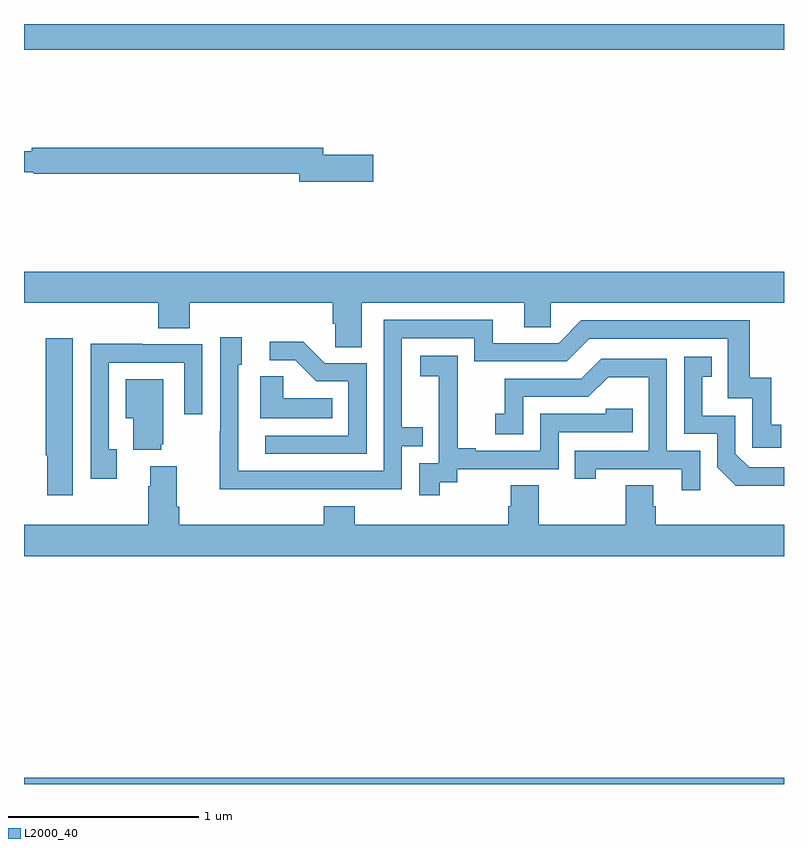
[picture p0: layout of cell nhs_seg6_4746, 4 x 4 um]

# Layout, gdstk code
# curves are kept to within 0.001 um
import gdstk
lib = gdstk.Library(unit=1e-6, precision=1e-09)
def R(c, l, rs):  # rectangles x0, y0, x1, y1
    for r in rs: c.add(gdstk.rectangle(r[:2], r[2:], *l))
def P(c, l, *ps):  # polygons
    for p in ps: c.add(gdstk.Polygon(p, *l))
L2000_40 = (2000, 40)

nhs_seg6_4746 = lib.new_cell('nhs_seg6_4746')
R(nhs_seg6_4746, L2000_40, [(393,915.5,397,915.532), (393,919.364,397,919.5)])
P(nhs_seg6_4746, L2000_40, [(394.837,918.812),(394.576,918.812),(394.576,918.848),(393.04,918.848),(393.04,918.829),(393,918.829),(393,918.72),(393.052,918.72),(393.052,918.712),(394.448,918.712),(394.448,918.67),(394.837,918.67)],
  [(394.777,918.032),(395.633,918.032),(395.633,917.905),(395.772,917.905),(395.772,918.032),(397,918.032),(397,918.196),(393,918.196),(393,918.032),(393.707,918.032),(393.707,917.899),(393.872,917.899),(393.872,918.032),(394.625,918.032),(394.625,917.923),(394.638,917.923),(394.638,917.8),(394.777,917.8)],
  [(394.493,917.052),(394.989,917.052),(394.989,917.277),(395.099,917.277),(395.099,917.378),(394.989,917.378),(394.989,917.847),(395.37,917.847),(395.37,917.724),(395.856,917.724),(395.976,917.844),(396.705,917.844),(396.705,917.529),(396.834,917.529),(396.834,917.271),(396.985,917.271),(396.985,917.391),(396.932,917.391),(396.932,917.638),(396.821,917.638),(396.821,917.94),(395.934,917.94),(395.814,917.82),(395.467,917.82),(395.467,917.943),(394.893,917.943),(394.893,917.148),(394.128,917.148),(394.128,917.706),(394.147,917.706),(394.147,917.851),(394.032,917.851),(394.032,917.357),(394.03,917.357),(394.03,917.051)],
  [(393.256,917.845),(393.115,917.845),(393.115,917.231),(393.122,917.231),(393.122,917.019),(393.256,917.019)],
  [(394.803,917.715),(394.584,917.715),(394.471,917.828),(394.293,917.828),(394.293,917.73),(394.427,917.73),(394.538,917.619),(394.707,917.619),(394.707,917.334),(394.269,917.334),(394.269,917.238),(394.803,917.238)],
  [(393.487,917.262),(393.447,917.262),(393.447,917.718),(393.843,917.718),(393.843,917.445),(393.939,917.445),(393.939,917.814),(393.623,917.814),(393.623,917.816),(393.351,917.816),(393.351,917.106),(393.487,917.106)],
  [(395.188,917.089),(395.28,917.089),(395.28,917.157),(395.814,917.157),(395.814,917.352),(396.203,917.352),(396.203,917.475),(396.063,917.475),(396.063,917.448),(395.718,917.448),(395.718,917.253),(395.377,917.253),(395.377,917.266),(395.282,917.266),(395.282,917.549),(395.283,917.549),(395.283,917.755),(395.085,917.755),(395.085,917.645),(395.183,917.645),(395.183,917.417),(395.184,917.417),(395.184,917.187),(395.079,917.187),(395.079,917.019),(395.188,917.019)],
  [(397,917.166),(396.816,917.166),(396.744,917.238),(396.744,917.439),(396.571,917.439),(396.571,917.643),(396.62,917.643),(396.62,917.749),(396.474,917.749),(396.474,917.343),(396.648,917.343),(396.648,917.166),(396.746,917.069),(397,917.069)],
  [(396.558,917.253),(396.384,917.253),(396.384,917.739),(396.038,917.739),(395.933,917.634),(395.53,917.634),(395.53,917.449),(395.481,917.449),(395.481,917.34),(395.628,917.34),(395.628,917.538),(395.97,917.538),(396.074,917.642),(396.288,917.642),(396.288,917.253),(395.899,917.253),(395.899,917.106),(396.01,917.106),(396.01,917.157),(396.461,917.157),(396.461,917.046),(396.558,917.046)],
  [(394.622,917.53),(394.365,917.53),(394.365,917.645),(394.244,917.645),(394.244,917.426),(394.622,917.426)],
  [(393.722,917.289),(393.733,917.289),(393.733,917.629),(393.536,917.629),(393.536,917.426),(393.575,917.426),(393.575,917.258),(393.722,917.258)],
  [(397,916.864),(396.326,916.864),(396.326,916.962),(396.313,916.962),(396.313,917.072),(396.166,917.072),(396.166,916.864),(395.709,916.864),(395.709,917.072),(395.561,917.072),(395.561,916.962),(395.549,916.962),(395.549,916.864),(394.742,916.864),(394.742,916.963),(394.577,916.963),(394.577,916.864),(393.818,916.864),(393.818,916.96),(393.805,916.96),(393.805,917.173),(393.665,917.173),(393.665,917.066),(393.653,917.066),(393.653,916.864),(393,916.864),(393,916.7),(397,916.7)])

lib.write_gds('nhs_seg6_4746.gds')
